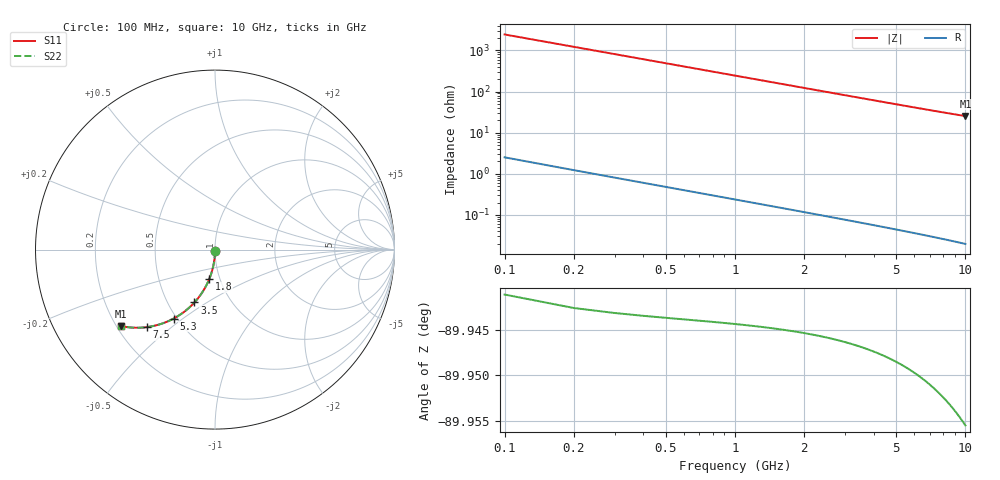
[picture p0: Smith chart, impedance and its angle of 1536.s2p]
# Hz S RI R 50.00
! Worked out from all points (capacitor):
!   100 points, 100 MHz to 10 GHz, reference 50 ohm
!   read as one part in shunt: C = 651 fF near 100 MHz
!   lowest |Z| = 25.3 ohm at 10 GHz (marker M1)
!   S11 on the Smith chart (normalised r, x): 100 MHz: 1.00, -0.02; 1.8 GHz: 0.89, -0.30; 3.5 GHz: 0.68, -0.44; 5.3 GHz: 0.48, -0.46; 7.5 GHz: 0.32, -0.41; 10 GHz: 0.22, -0.34
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1e8  7.29e-05 -0.00952  0.9997 -0.0109  0.9997 -0.0109  7.29e-05 -0.00952
2e8  -0.000248 -0.019  0.9994 -0.0218  0.9994 -0.0218  -0.000248 -0.019
3e8  -0.000776 -0.0285  0.9988 -0.0327  0.9988 -0.0327  -0.000776 -0.0285
4e8  -0.00151 -0.038  0.9981 -0.0436  0.9981 -0.0436  -0.00151 -0.038
5e8  -0.00245 -0.0475  0.9971 -0.0545  0.9971 -0.0545  -0.00245 -0.0475
6e8  -0.0036 -0.0569  0.996 -0.0653  0.996 -0.0653  -0.0036 -0.0569
8e8  -0.00651 -0.0757  0.993 -0.0869  0.993 -0.0869  -0.00651 -0.0757
1.1e9  -0.0124 -0.1034  0.9871 -0.1188  0.9871 -0.1188  -0.0124 -0.1034
1.4e9  -0.02 -0.1306  0.9794 -0.1502  0.9794 -0.1502  -0.02 -0.1306
1.8e9  -0.0327 -0.1657  0.9666 -0.1909  0.9666 -0.1909  -0.0327 -0.1657
2.1e9  -0.0441 -0.191  0.9551 -0.2204  0.9551 -0.2204  -0.0441 -0.191
2.5e9  -0.0615 -0.2231  0.9375 -0.2582  0.9375 -0.2582  -0.0615 -0.2231
2.9e9  -0.0812 -0.2532  0.9176 -0.2939  0.9176 -0.2939  -0.0812 -0.2532
3.4e9  -0.1086 -0.2877  0.8899 -0.3355  0.8899 -0.3355  -0.1086 -0.2877
3.5e9  -0.1144 -0.2941  0.884 -0.3433  0.884 -0.3433  -0.1144 -0.2941
4.3e9  -0.1638 -0.3403  0.8339 -0.4009  0.8339 -0.4009  -0.1638 -0.3403
5.1e9  -0.217 -0.3766  0.78 -0.4488  0.78 -0.4488  -0.217 -0.3766
5.3e9  -0.2306 -0.3842  0.7662 -0.4592  0.7662 -0.4592  -0.2306 -0.3842
6.7e9  -0.3261 -0.4214  0.6689 -0.5169  0.6689 -0.5169  -0.3261 -0.4214
7.5e9  -0.3789 -0.4317  0.6149 -0.539  0.6149 -0.539  -0.3789 -0.4317
8.4e9  -0.4353 -0.4354  0.5569 -0.5562  0.5569 -0.5562  -0.4353 -0.4354
1e10  -0.5253 -0.4259  0.4636 -0.5711  0.4636 -0.5711  -0.5253 -0.4259
